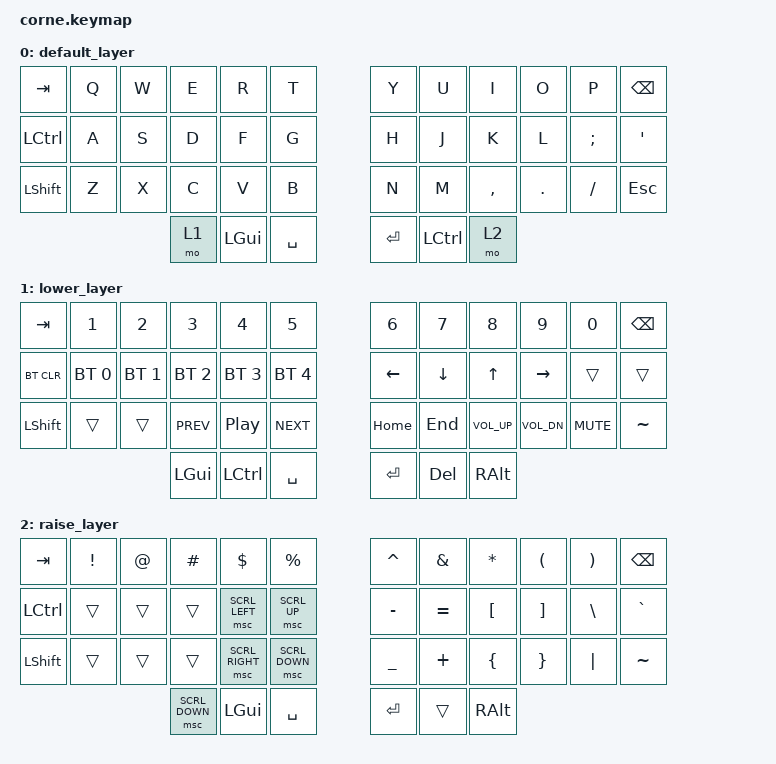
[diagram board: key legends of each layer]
/*
 * Copyright (c) 2020 The ZMK Contributors
 *
 * SPDX-License-Identifier: MIT
 */

#include <behaviors.dtsi>
#include <dt-bindings/zmk/bt.h>
#include <dt-bindings/zmk/keys.h>
#include <dt-bindings/zmk/pointing.h>

/ {
    keymap {
        compatible = "zmk,keymap";

        default_layer {
            // -----------------------------------------------------------------------------------------
            // |  TAB |  Q  |  W  |  E  |  R  |  T  |   |  Y  |  U   |  I  |  O  |  P  | BSPC |
            // | CTRL |  A  |  S  |  D  |  F  |  G  |   |  H  |  J   |  K  |  L  |  ;  |  '   |
            // | SHFT |  Z  |  X  |  C  |  V  |  B  |   |  N  |  M   |  ,  |  .  |  /  | ESC  |
            //                    | GUI | LWR | SPC |   | ENT | RSE  | ALT |

            bindings = <
&kp TAB    &kp Q  &kp W  &kp E  &kp R         &kp T        &kp Y    &kp U    &kp I      &kp O    &kp P     &kp BSPC
&kp LCTRL  &kp A  &kp S  &kp D  &kp F         &kp G        &kp H    &kp J    &kp K      &kp L    &kp SEMI  &kp SQT
&kp LSHFT  &kp Z  &kp X  &kp C  &kp V         &kp B        &kp N    &kp M    &kp COMMA  &kp DOT  &kp FSLH  &kp ESC
                         &mo 1  &kp LEFT_GUI  &kp SPACE    &kp RET  &kp LCTRL  &mo 2
            >;
        };

        lower_layer {
            // -----------------------------------------------------------------------------------------
            // |  TAB |  1  |  2  |  3  |  4  |  5  |   |  6  |  7  |  8  |  9  |  0  | BSPC |
            // | BTCLR| BT1 | BT2 | BT3 | BT4 | BT5 |   | LFT | DWN |  UP | RGT |     |      |
            // | SHFT |     |     |     |     |     |   |     |     |     |     |     |      |
            //                    | GUI |     | SPC |   | ENT |     | ALT |

            bindings = <
&kp TAB     &kp N1        &kp N2        &kp N3        &kp N4            &kp N5          &kp N6    &kp N7    &kp N8           &kp N9        &kp N0      &kp BSPC
&bt BT_CLR  &bt BT_SEL 0  &bt BT_SEL 1  &bt BT_SEL 2  &bt BT_SEL 3      &bt BT_SEL 4    &kp LEFT  &kp DOWN  &kp UP           &kp RIGHT     &trans      &trans
&kp LSHFT   &trans        &trans        &kp C_PREV    &kp C_PLAY_PAUSE  &kp C_NEXT      &kp HOME  &kp END   &kp C_VOLUME_UP  &kp C_VOL_DN  &kp C_MUTE  &kp TILDE
                                        &kp LGUI      &kp LCTRL            &kp SPACE       &kp RET   &kp DEL    &kp RALT
            >;
        };

        raise_layer {
            // -----------------------------------------------------------------------------------------
            // |  TAB |  !  |  @  |  #  |  $  |  %  |   |  ^  |  &  |  *  |  (  |  )  | BSPC |
            // | CTRL |     |     |     |     |     |   |  -  |  =  |  [  |  ]  |  \  |  `   |
            // | SHFT |     |     |     |     |     |   |  _  |  +  |  {  |  }  | "|" |  ~   |
            //                    | GUI |     | SPC |   | ENT |     | ALT |

            bindings = <
&kp TAB    &kp EXCL  &kp AT  &kp HASH        &kp DLLR         &kp PRCNT         &kp CARET  &kp AMPS   &kp ASTRK  &kp LPAR  &kp RPAR  &kp BSPC
&kp LCTRL  &trans    &trans  &trans          &msc SCRL_LEFT   &msc SCRL_UP      &kp MINUS  &kp EQUAL  &kp LBKT   &kp RBKT  &kp BSLH  &kp GRAVE
&kp LSHFT  &trans    &trans  &trans          &msc SCRL_RIGHT  &msc SCRL_DOWN    &kp UNDER  &kp PLUS   &kp LBRC   &kp RBRC  &kp PIPE  &kp TILDE
                             &msc SCRL_DOWN  &kp LEFT_GUI     &kp SPACE         &kp RET    &trans     &kp RALT
            >;
        };
    };
};
